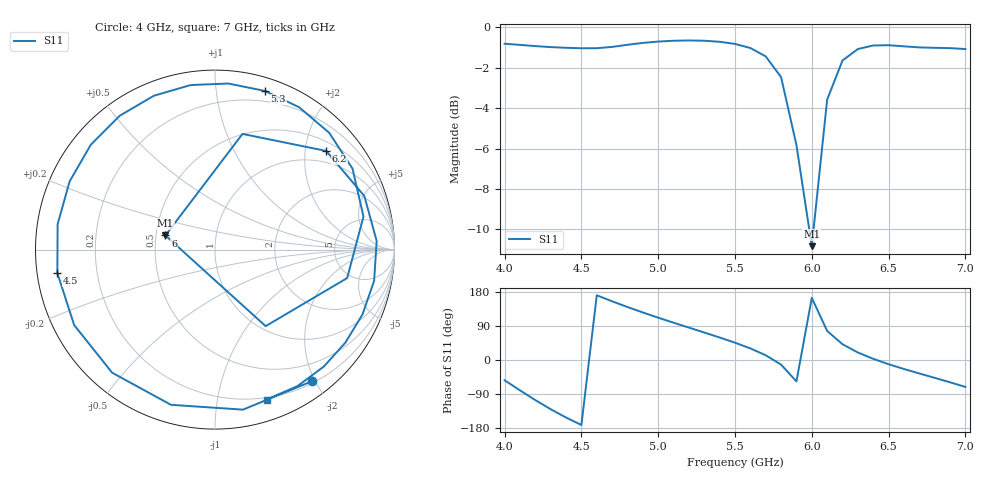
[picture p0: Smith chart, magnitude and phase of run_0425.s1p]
! Touchstone file exported from HFSS 2024.2.0
!  File:  C:/Users/wsak9/Desktop/Sim Fast/Widenad Patch/WP_AI_V1_sweep.aedt
!  Generated:  09:25:43 AM Oct 14, 2026
!  Design:  A1_model
!  Project:  WP_AI_V1_sweep
!  Setup:  Setup1
!  Solution:  Sweep
! Variables:
!  Air_gap = 4.44mm
!  Curve_Amp1 = 1.37
!  Curve_len1 = 1
!  Curve_pos = 10.305mm
!  Extra = 1.63mm
!  H_sub = 0.79mm
!  L_Patch = 16.61mm
!  L_Patch1 = 18.23mm
!  Sx = 0.5mm
!  Sy = 2.4mm
!  WS = 0.49mm
!  W_Patch = 12.54mm
!  W_Patch1 = 16.6mm
!Data is not renormalized
# GHz S MA
! Terminal data exported
! Port[1] = 1
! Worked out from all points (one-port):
!   31 points, 4 GHz to 7 GHz, reference per port
!   lowest |S11| = -10.8 dB at 6 GHz (marker M1), VSWR 1.81
!   |S11| at or under -10 dB: 5.98336 GHz to 6.011486 GHz (28.13 MHz wide, 0.469 % of centre)
!   S11 on the Smith chart (normalised r, x): 4 GHz: 0.23, -1.96; 4.5 GHz: 0.06, -0.07; 5.3 GHz: 0.11, +1.36; 6 GHz: 0.56, +0.10; 6.2 GHz: 0.70, +2.46; 7 GHz: 0.18, -1.38
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4  0.9112 -53.5
4.1  0.9052 -80.1
4.2  0.8989 -105.8
4.3  0.8938 -129.9
4.4  0.8903 -151.8
4.5  0.888 -171.5
4.6  0.8881 170.8
4.7  0.8947 154.8
4.8  0.9057 139.8
5  0.9224 111.7
5.1  0.9267 98.4
5.2  0.9283 85.4
5.3  0.9267 72.5
5.4  0.9213 59.4
5.5  0.9102 45.6
5.6  0.8892 30.5
5.7  0.8476 12.6
5.8  0.7532 -12.2
5.9  0.5114 -56.5
6  0.2873 164.0
6.1  0.6625 76.6
6.2  0.8282 41.6
6.3  0.884 19.7
6.4  0.9021 3.0
6.5  0.9034 -11.1
6.7  0.8923 -35.5
6.9  0.8886 -58.9
7  0.8838 -71.1
